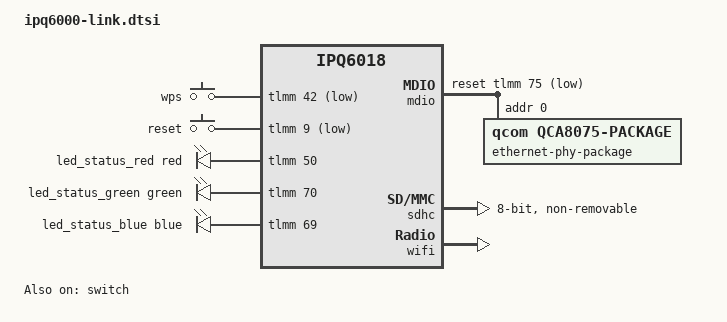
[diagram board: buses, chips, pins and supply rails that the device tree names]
// SPDX-License-Identifier: GPL-2.0-or-later OR MIT

#include "ipq6018.dtsi"
#include "ipq6018-ess.dtsi"
#include "ipq6018-nss.dtsi"
#include "ipq6018-common.dtsi"

#include <dt-bindings/gpio/gpio.h>
#include <dt-bindings/input/input.h>
#include <dt-bindings/leds/common.h>

/ {
	aliases {
		serial0 = &blsp1_uart3;

		led-boot = &led_status_red;
		led-failsafe = &led_status_red;
		led-running = &led_status_green;
		led-upgrade = &led_status_red;
	};

	chosen {
		stdout-path = "serial0:115200n8";
	};

	keys {
		compatible = "gpio-keys";

		wps {
			label = "wps";
			linux,code = <KEY_WPS_BUTTON>;
			gpios = <&tlmm 42 GPIO_ACTIVE_LOW>;
		};

		reset {
			label = "reset";
			linux,code = <KEY_RESTART>;
			gpios = <&tlmm 9 GPIO_ACTIVE_LOW>;
		};
	};

	leds {
		/* Single RGB led controlled via GPIO.
		To mimic the OEM default behaviour red are switched on from boot */
		compatible = "gpio-leds";

		led_status_red: status-red {
			gpios = <&tlmm 50 GPIO_ACTIVE_HIGH>;
			color = <LED_COLOR_ID_RED>;
			function = LED_FUNCTION_STATUS;
			default-state = "on";
		};

		led_status_green: status-green {
			gpios = <&tlmm 70 GPIO_ACTIVE_HIGH>;
			color = <LED_COLOR_ID_GREEN>;
			function = LED_FUNCTION_STATUS;
		};

		led_status_blue: status-blue {
			gpios = <&tlmm 69 GPIO_ACTIVE_HIGH>;
			color = <LED_COLOR_ID_BLUE>;
			function = LED_FUNCTION_STATUS;
		};
	};
};

&mdio {
	status = "okay";

	pinctrl-0 = <&mdio_pins>;
	pinctrl-names = "default";
	reset-gpios = <&tlmm 75 GPIO_ACTIVE_LOW>;

	ethernet-phy-package@0 {
		compatible = "qcom,qca8075-package";
		qcom,package-mode = "psgmii";
		#address-cells = <1>;
		#size-cells = <0>;
		reg = <0>;

		qca8075_0: ethernet-phy@0 {
			compatible = "ethernet-phy-ieee802.3-c22";
			reg = <0>;
		};

		qca8075_1: ethernet-phy@1 {
			compatible = "ethernet-phy-ieee802.3-c22";
			reg = <1>;
		};

		qca8075_2: ethernet-phy@2 {
			compatible = "ethernet-phy-ieee802.3-c22";
			reg = <2>;
		};

		qca8075_3: ethernet-phy@3 {
			compatible = "ethernet-phy-ieee802.3-c22";
			reg = <3>;
		};

		qca8075_4: ethernet-phy@4 {
			compatible = "ethernet-phy-ieee802.3-c22";
			reg = <4>;
		};
	};
};

&switch {
	status = "okay";

	switch_lan_bmp = <(ESS_PORT1 | ESS_PORT3 | ESS_PORT4 | ESS_PORT5)>;
	switch_wan_bmp = <ESS_PORT2>;
	switch_mac_mode = <MAC_MODE_PSGMII>;

	qcom,port_phyinfo {
		port@1 {
			port_id = <1>;
			phy_address = <0>;
		};

		port@2 {
			port_id = <2>;
			phy_address = <1>;
		};

		port@3 {
			port_id = <3>;
			phy_address = <2>;
		};

		port@4 {
			port_id = <4>;
			phy_address = <3>;
		};

		port@5 {
			port_id = <5>;
			phy_address = <4>;
		};
	};
};

&sdhc {
	status = "okay";

	bus-width = <8>;
	mmc-ddr-1_8v;
	mmc-hs200-1_8v;
	non-removable;
};

&wifi {
	status = "okay";
	qcom,ath11k-fw-memory-mode = <1>;
	qcom,ath11k-calibration-variant = "Link-NN6000";
};

&edma {
	status = "okay";
};
